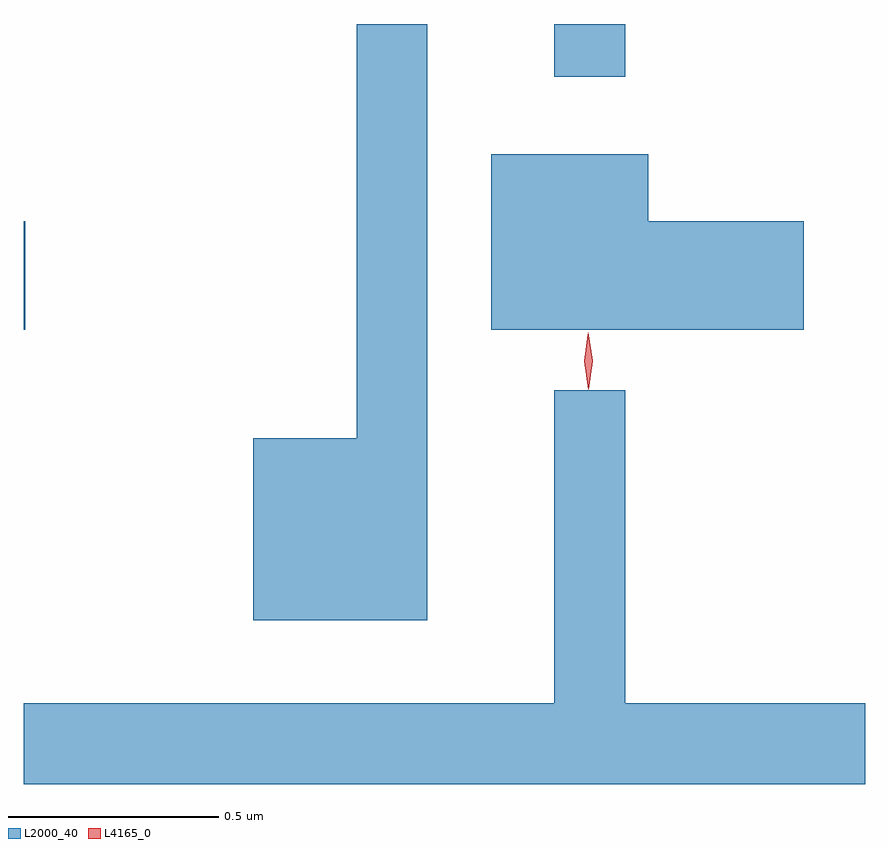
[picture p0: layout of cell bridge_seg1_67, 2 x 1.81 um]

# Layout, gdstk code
import gdstk
lib = gdstk.Library(unit=1e-6, precision=1e-09)
def R(c, l, rs):  # rectangles x0, y0, x1, y1
    for r in rs: c.add(gdstk.rectangle(r[:2], r[2:], *l))
def P(c, l, *ps):  # polygons
    for p in ps: c.add(gdstk.Polygon(p, *l))
L2000_40 = (2000, 40)
L4165_0 = (4165, 0)

bridge_seg1_67 = lib.new_cell('bridge_seg1_67')
R(bridge_seg1_67, L2000_40, [(1823.14,840.791,1823.144,841.049), (1824.401,841.393,1824.569,841.518)])
P(bridge_seg1_67, L2000_40, [(1824.099,841.518),(1823.931,841.518),(1823.931,840.534),(1823.686,840.534),(1823.686,840.101),(1824.099,840.101)],
  [(1824.994,841.049),(1824.624,841.049),(1824.624,841.209),(1824.251,841.209),(1824.251,840.791),(1824.994,840.791)],
  [(1825.14,839.904),(1824.569,839.904),(1824.569,840.648),(1824.401,840.648),(1824.401,839.904),(1823.14,839.904),(1823.14,839.712),(1825.14,839.712)])
P(bridge_seg1_67, L4165_0, [(1824.482,840.65),(1824.472,840.718),(1824.482,840.786),(1824.482,840.786),(1824.482,840.786),(1824.492,840.718),(1824.483,840.65),(1824.483,840.65)],
  [(1824.482,840.653),(1824.472,840.716),(1824.481,840.779),(1824.482,840.78),(1824.482,840.779),(1824.492,840.716),(1824.483,840.653),(1824.483,840.653)])

lib.write_gds('bridge_seg1_67.gds')
